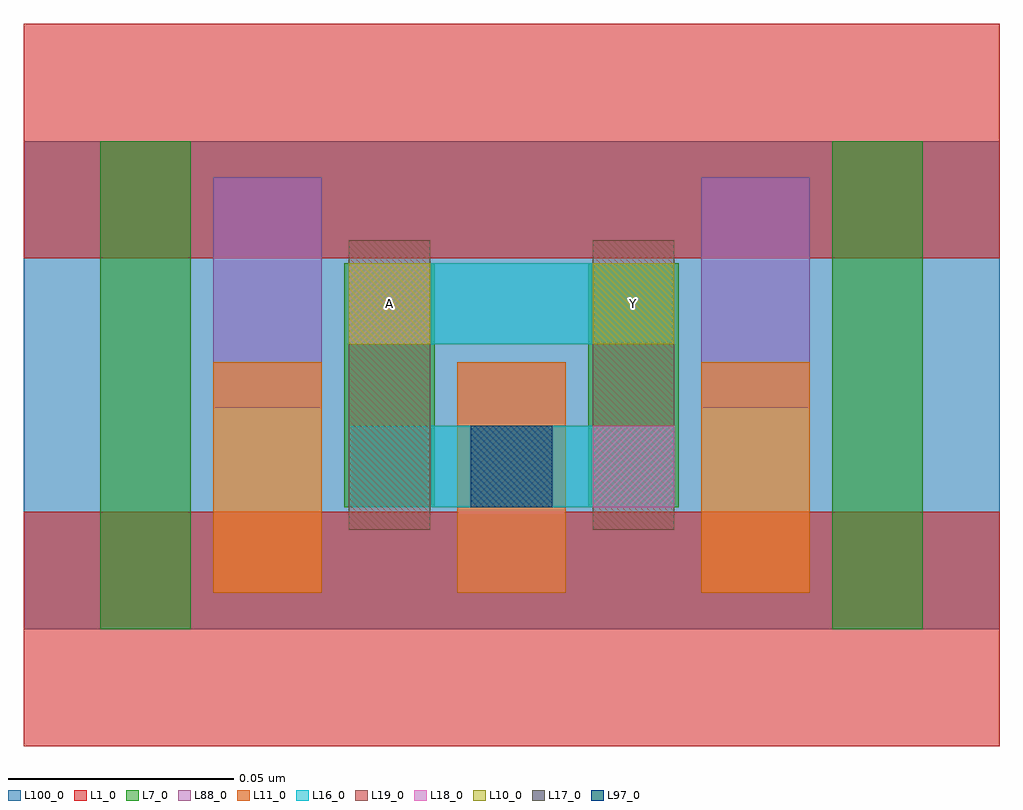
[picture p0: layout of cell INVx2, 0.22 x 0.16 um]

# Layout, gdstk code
import gdstk
lib = gdstk.Library(unit=1e-6, precision=2.5e-10)
def R(c, l, rs):  # rectangles x0, y0, x1, y1
    for r in rs: c.add(gdstk.rectangle(r[:2], r[2:], *l))
def A(c, l, x, y, w, h, nx, ny, dx, dy):  # array of equal rectangles
    R(c, l, [(x+i*dx, y+j*dy, x+i*dx+w, y+j*dy+h) for i in range(nx) for j in range(ny)])
L1_0 = (1, 0)
L7_0 = (7, 0)
L10_0 = (10, 0)
L11_0 = (11, 0)
L16_0 = (16, 0)
L17_0 = (17, 0)
L18_0 = (18, 0)
L19_0 = (19, 0)
L88_0 = (88, 0)
L97_0 = (97, 0)
L100_0 = (100, 0)

invx2 = lib.new_cell('INVx2')
R(invx2, L1_0, [(0,-0.026,0.216,0.026), (0,0.082,0.216,0.134)])
R(invx2, L7_0, [(0.017,0,0.037,0.108), (0.179,0,0.199,0.108), (0.071,0.027,0.091,0.081), (0.125,0.027,0.145,0.081)])
R(invx2, L10_0, [(0.072,0.063,0.09,0.081), (0.126,0.063,0.144,0.081)])
A(invx2, L11_0, 0.042, 0.008, 0.024, 0.051, 3, 1, 0.054, 0)
R(invx2, L16_0, [(0.072,0.027,0.144,0.045), (0.072,0.063,0.144,0.081)])
R(invx2, L17_0, [(0.099,0.027,0.117,0.045)])
R(invx2, L18_0, [(0.126,0.027,0.144,0.045), (0.072,0.063,0.09,0.081)])
R(invx2, L19_0, [(0.072,0.022,0.09,0.086), (0.126,0.022,0.144,0.086)])
R(invx2, L88_0, [(0.096,0.008,0.12,0.059), (0.042,0.049,0.066,0.1), (0.15,0.049,0.174,0.1)])
R(invx2, L97_0, [(0.099,0.027,0.117,0.045)])
R(invx2, L100_0, [(0,0,0.216,0.108)])
invx2.add(gdstk.Label('A', (0.081,0.072), layer=19, texttype=251))
invx2.add(gdstk.Label('Y', (0.135,0.072), layer=19, texttype=251))

lib.write_gds('INVx2.gds')
